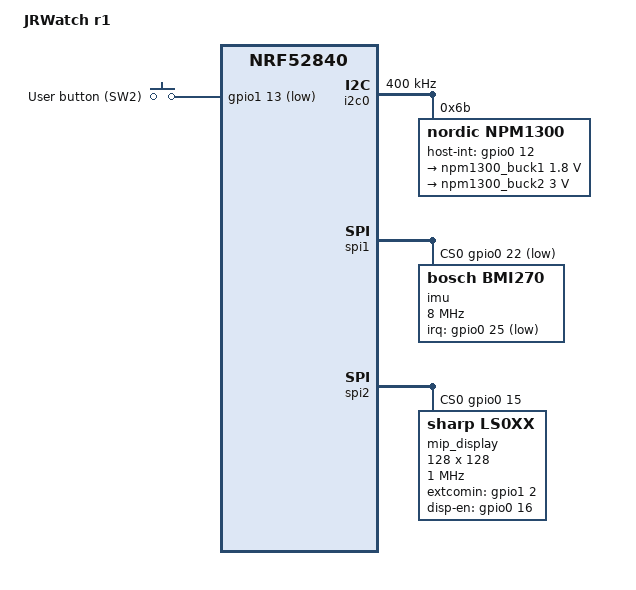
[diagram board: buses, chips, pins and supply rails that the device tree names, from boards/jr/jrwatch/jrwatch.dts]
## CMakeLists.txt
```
cmake_minimum_required(VERSION 3.20.0)

set(BOARD_ROOT ${CMAKE_CURRENT_SOURCE_DIR})
find_package(Zephyr REQUIRED HINTS $ENV{ZEPHYR_BASE})
project(jrwatch_fw)

target_sources(app PRIVATE
  src/main.c
  src/ble.c
  src/motion.c
  src/ui.c
  src/power.c
)
target_include_directories(app PRIVATE src)
```

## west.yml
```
manifest:
  remotes:
    - name: zephyrproject
      url-base: https://github.com/zephyrproject-rtos

  projects:
    - name: zephyr
      remote: zephyrproject
      revision: v4.1.0
      import:
        name-allowlist:
          - cmsis
          - hal_nordic
          - segger
          - mbedtls
          - tinycrypt
          - picolibc

  self:
    path: jrwatch/firmware
```

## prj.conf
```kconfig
# ---------------------------------------------------------------- Bluetooth
CONFIG_BT=y
CONFIG_BT_PERIPHERAL=y
CONFIG_BT_DEVICE_NAME="JRWatch"
CONFIG_BT_DEVICE_APPEARANCE=192
CONFIG_BT_BAS=y
CONFIG_BT_SMP=y
CONFIG_BT_SETTINGS=y
# connection interval: prefer long intervals for power (units of 1.25 ms)
CONFIG_BT_PERIPHERAL_PREF_MIN_INT=40
CONFIG_BT_PERIPHERAL_PREF_MAX_INT=80
CONFIG_BT_PERIPHERAL_PREF_LATENCY=4
CONFIG_BT_PERIPHERAL_PREF_TIMEOUT=400
CONFIG_BT_GAP_AUTO_UPDATE_CONN_PARAMS=y

# settings/bonding storage
CONFIG_FLASH=y
CONFIG_FLASH_MAP=y
CONFIG_NVS=y
CONFIG_SETTINGS=y
CONFIG_SETTINGS_NVS=y

# ------------------------------------------------------------------ devices
CONFIG_GPIO=y
CONFIG_I2C=y
CONFIG_SPI=y
CONFIG_SENSOR=y
CONFIG_REGULATOR=y
CONFIG_MFD=y
CONFIG_INPUT=y

# BMI270 (SPI) with motion trigger for wake-on-wrist
CONFIG_BMI270=y
CONFIG_BMI270_TRIGGER_OWN_THREAD=y

# Sharp memory-in-pixel display
CONFIG_DISPLAY=y
CONFIG_LS0XX=y
CONFIG_CHARACTER_FRAMEBUFFER=y

# ------------------------------------------------------------- power story
CONFIG_PM=y
CONFIG_PM_DEVICE=y
CONFIG_PM_DEVICE_RUNTIME=y
CONFIG_POWEROFF=y


# ---------------------------------------------------------------- logging
# no UART pins on this board: console/logs over SEGGER RTT (SWD attached)
CONFIG_LOG=y
CONFIG_USE_SEGGER_RTT=y
CONFIG_LOG_BACKEND_RTT=y
CONFIG_LOG_MODE_DEFERRED=y
CONFIG_LOG_DEFAULT_LEVEL=3

CONFIG_MAIN_STACK_SIZE=2048
CONFIG_SYSTEM_WORKQUEUE_STACK_SIZE=2048
CONFIG_HEAP_MEM_POOL_SIZE=4096
```

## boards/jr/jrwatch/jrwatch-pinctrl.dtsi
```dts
/* JRWatch pin control. Matches the schematic pin table exactly. */

&pinctrl {
	i2c0_default: i2c0_default {
		group1 {
			psels = <NRF_PSEL(TWIM_SDA, 0, 14)>,
				<NRF_PSEL(TWIM_SCL, 0, 13)>;
			bias-pull-up;
		};
	};
	i2c0_sleep: i2c0_sleep {
		group1 {
			psels = <NRF_PSEL(TWIM_SDA, 0, 14)>,
				<NRF_PSEL(TWIM_SCL, 0, 13)>;
			low-power-enable;
		};
	};

	spi1_default: spi1_default {
		group1 {
			psels = <NRF_PSEL(SPIM_SCK, 0, 19)>,
				<NRF_PSEL(SPIM_MOSI, 0, 21)>,
				<NRF_PSEL(SPIM_MISO, 0, 23)>;
		};
	};
	spi1_sleep: spi1_sleep {
		group1 {
			psels = <NRF_PSEL(SPIM_SCK, 0, 19)>,
				<NRF_PSEL(SPIM_MOSI, 0, 21)>,
				<NRF_PSEL(SPIM_MISO, 0, 23)>;
			low-power-enable;
		};
	};

	spi2_default: spi2_default {
		group1 {
			psels = <NRF_PSEL(SPIM_SCK, 0, 17)>,
				<NRF_PSEL(SPIM_MOSI, 0, 20)>;
		};
	};
	spi2_sleep: spi2_sleep {
		group1 {
			psels = <NRF_PSEL(SPIM_SCK, 0, 17)>,
				<NRF_PSEL(SPIM_MOSI, 0, 20)>;
			low-power-enable;
		};
	};
};
```

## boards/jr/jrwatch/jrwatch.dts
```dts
/*
 * JRWatch r1: Raytac MDBT50Q-1MV2 (nRF52840) wearable.
 * Pin map is the schematic of record (hardware/skidl/jrwatch.py):
 *   I2C0  SDA P0.14  SCL P0.13   -> nPM1300 PMIC (addr 0x6B)
 *   SPI1  SCK P0.19 MOSI P0.21 MISO P0.23 CS P0.22, INT1 P0.25 -> BMI270
 *   SPI2  SCK P0.17 MOSI P0.20 SCS P0.15 (active HIGH)          -> LS013B7DH03
 *         EXTCOMIN P1.02, DISP P0.16
 *   Button SW2 P1.13 (to GND, internal pull-up), SW1 -> PMIC SHPHLD only
 *   PMIC host interrupt: nPM1300 GPIO0 -> P0.12
 */

/dts-v1/;
#include <nordic/nrf52840_qiaa.dtsi>
#include <dt-bindings/regulator/npm1300.h>
#include <dt-bindings/regulator/nrf5x.h>
#include "jrwatch-pinctrl.dtsi"

/ {
	model = "JRWatch r1";
	compatible = "jr,jrwatch";

	chosen {
		zephyr,sram = &sram0;
		zephyr,flash = &flash0;
		zephyr,code-partition = &slot0_partition;
		zephyr,display = &mip_display;
	};

	buttons {
		compatible = "gpio-keys";
		button_user: button_0 {
			gpios = <&gpio1 13 (GPIO_PULL_UP | GPIO_ACTIVE_LOW)>;
			label = "User button (SW2)";
			zephyr,code = <INPUT_KEY_0>;
		};
	};

	aliases {
		sw0 = &button_user;
		watchdog0 = &wdt0;
	};
};

/* REG1 DC/DC: the buck inductor is inside the Raytac module (datasheet §2.6) */
&reg1 {
	regulator-initial-mode = <NRF5X_REG_MODE_DCDC>;
};

&gpio0 { status = "okay"; };
&gpio1 { status = "okay"; };
&gpiote { status = "okay"; };

/* Tag-Connect pad J4.3 routes to P0.18/nRESET (schematic); without this UICR
 * setting the pin is just a GPIO and the debug pod cannot hard-reset. */
&uicr {
	gpio-as-nreset;
};

&i2c0 {
	compatible = "nordic,nrf-twim";
	status = "okay";
	pinctrl-0 = <&i2c0_default>;
	pinctrl-1 = <&i2c0_sleep>;
	pinctrl-names = "default", "sleep";
	clock-frequency = <I2C_BITRATE_FAST>;

	npm1300: pmic@6b {
		compatible = "nordic,npm1300";
		reg = <0x6b>;
		host-int-gpios = <&gpio0 12 GPIO_ACTIVE_HIGH>;
		pmic-int-pin = <0>;

		npm1300_gpio: gpio-controller {
			compatible = "nordic,npm1300-gpio";
			gpio-controller;
			#gpio-cells = <2>;
			ngpios = <5>;
		};

		npm1300_regulators: regulators {
			compatible = "nordic,npm1300-regulator";

			/* BUCK1: populated per reference config, held OFF by
			 * firmware (D-012); 1.8 V experiment rail only. */
			npm1300_buck1: BUCK1 {
				regulator-min-microvolt = <1800000>;
				regulator-max-microvolt = <1800000>;
				regulator-boot-off;
			};

			/* BUCK2: 3.0 V always-on system rail (VSET2 strap =
			 * 150k -> 3.0 V, correct by hardware at power-on). */
			npm1300_buck2: BUCK2 {
				regulator-min-microvolt = <3000000>;
				regulator-max-microvolt = <3000000>;
				regulator-always-on;
			};

			/* LDO1 as load switch: display domain (VDD_DISP) */
			npm1300_lsw_disp: LDO1 {
				regulator-initial-mode = <NPM1300_LDSW_MODE_LDSW>;
				regulator-boot-off;
			};

			/* LDO2 as load switch: IMU VDD domain (VDD_IMU) */
			npm1300_lsw_imu: LDO2 {
				regulator-initial-mode = <NPM1300_LDSW_MODE_LDSW>;
				regulator-boot-off;
			};
		};

		npm1300_charger: charger {
			compatible = "nordic,npm1300-charger";
			/* 150 mAh pouch: 0.5C charge, 4.2 V termination */
			term-microvolt = <4200000>;
			term-warm-microvolt = <4000000>;
			current-microamp = <76000>;
			/* board NTC: Murata NCP15XH103F03RC 10k B=3380 (D-017) */
			thermistor-ohms = <10000>;
			thermistor-beta = <3380>;
			/* discharge limiter: 200 mA >> worst-case system peak */
			dischg-limit-microamp = <200000>;
			charging-enable;
			vbus-limit-microamp = <500000>;
		};
	};
};

&spi1 {
	compatible = "nordic,nrf-spim";
	status = "okay";
	pinctrl-0 = <&spi1_default>;
	pinctrl-1 = <&spi1_sleep>;
	pinctrl-names = "default", "sleep";
	cs-gpios = <&gpio0 22 GPIO_ACTIVE_LOW>;

	imu: bmi270@0 {
		compatible = "bosch,bmi270";
		reg = <0>;
		spi-max-frequency = <8000000>;
		/* the in-tree driver leaves INT1_IO_CTRL.LVL at 0 (active low)
		 * and arms GPIO_INT_EDGE_TO_ACTIVE, so the flag must be LOW for
		 * "active edge" to mean motion-start */
		irq-gpios = <&gpio0 25 GPIO_ACTIVE_LOW>;
		/* VDD_IMU is a boot-off load switch: the driver's chip-ID probe
		 * must not run at POST_KERNEL against an unpowered chip. main()
		 * powers the rail, then runs device_init() (jr_motion_init). */
		zephyr,deferred-init;
	};
};

&spi2 {
	compatible = "nordic,nrf-spim";
	status = "okay";
	pinctrl-0 = <&spi2_default>;
	pinctrl-1 = <&spi2_sleep>;
	pinctrl-names = "default", "sleep";
	/* Sharp SCS is ACTIVE HIGH */
	cs-gpios = <&gpio0 15 GPIO_ACTIVE_HIGH>;

	mip_display: ls013b7dh03@0 {
		compatible = "sharp,ls0xx";
		reg = <0>;
		spi-max-frequency = <1000000>;
		width = <128>;
		height = <128>;
		/* EXTMODE is strapped HIGH: COM inversion via EXTCOMIN pin */
		extcomin-gpios = <&gpio1 2 GPIO_ACTIVE_HIGH>;
		extcomin-frequency = <1>;
		disp-en-gpios = <&gpio0 16 GPIO_ACTIVE_HIGH>;
		/* VDD_DISP is a boot-off load switch: don't drive DISP/EXTCOMIN
		 * or clock SPI into an unpowered panel at POST_KERNEL. The
		 * driver is inited by jr_ui_display_power() after rail-up. */
		zephyr,deferred-init;
	};
};

&flash0 {
	partitions {
		compatible = "fixed-partitions";
		#address-cells = <1>;
		#size-cells = <1>;

		boot_partition: partition@0 {
			label = "mcuboot";
			reg = <0x0 0xc000>;
		};
		slot0_partition: partition@c000 {
			label = "image-0";
			reg = <0xc000 0x72000>;
		};
		slot1_partition: partition@7e000 {
			label = "image-1";
			reg = <0x7e000 0x72000>;
		};
		storage_partition: partition@f0000 {
			label = "storage";
			reg = <0xf0000 0x10000>;
		};
	};
};
```

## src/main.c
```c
/*
 * JRWatch main state machine.
 *
 * The whole application is event-driven: between events the SoC sits in
 * System ON idle (WFI via the Zephyr idle thread) and every peripheral is
 * either gated (display/IMU load switches) or in its lowest device state.
 * The measured/projected budget per state lives in docs/verification-report.md.
 */
#include <zephyr/kernel.h>
#include <zephyr/logging/log.h>
#include <zephyr/drivers/gpio.h>
#include <zephyr/input/input.h>

#include "jrwatch.h"

LOG_MODULE_REGISTER(main, CONFIG_LOG_DEFAULT_LEVEL);

struct jr_status jr_status;
K_EVENT_DEFINE(jr_events);

/* after this long with no motion/button/BLE activity, drop to IDLE */
#define ACTIVE_TIMEOUT   K_SECONDS(20)
/* battery/status refresh cadence while active */
#define ACTIVE_TICK      K_SECONDS(5)
/* very long press of the user button requests ship mode */
#define SHIP_HOLD_MS     5000

static int64_t last_button_down;
static bool button_pressed;

static void button_cb(struct input_event *evt, void *user_data)
{
	ARG_UNUSED(user_data);

	if (evt->code != INPUT_KEY_0) {
		return;
	}
	if (evt->value) {
		last_button_down = k_uptime_get();
		button_pressed = true;
	} else {
		/* only honor a release whose press edge we saw; an unpaired
		 * release would compare against a zero timestamp and request
		 * ship mode spuriously */
		if (button_pressed &&
		    k_uptime_get() - last_button_down >= SHIP_HOLD_MS) {
			LOG_INF("long press -> ship mode");
			/* runs on the main loop, not here: ship entry can
			 * block ~100 ms probing for refusal, too long for
			 * the input callback context */
			k_event_post(&jr_events, JR_EVT_SHIP);
		}
		button_pressed = false;
	}
	k_event_post(&jr_events, JR_EVT_BUTTON);
}
INPUT_CALLBACK_DEFINE(NULL, button_cb, NULL);

static void enter_active(void)
{
	jr_status.state = JR_STATE_ACTIVE;
	jr_power_imu_rail(true);
	jr_motion_active();
	jr_ui_display_power(true);
	jr_power_sample();
	jr_ui_render();
	LOG_INF("state: ACTIVE");
}

static void enter_idle(void)
{
	jr_status.state = JR_STATE_IDLE;
	/* display keeps its last frame at ~µW: MIP retains the image and the
	 * EXTCOMIN 1 Hz toggle is driven by the display driver from a timer.
	 * The IMU drops to its 25 Hz low-power any-motion mode (~6 µA). */
	jr_motion_arm_wake();
	jr_ui_render();          /* final face refresh before going quiet */
	LOG_INF("state: IDLE (armed sleep)");
}

int main(void)
{
	int64_t last_activity = k_uptime_get();

	LOG_INF("JRWatch r1 firmware boot");

	(void)jr_power_init();
	/* Both gated rails are boot-off and their peripherals' drivers are
	 * deferred-init (jrwatch.dts): bring VDD_IMU up before probing the
	 * BMI270; VDD_DISP comes up inside jr_ui_display_power(). */
	jr_power_imu_rail(true);
	k_msleep(2);            /* BMI270 POR after rail-up */
	(void)jr_ui_init();
	(void)jr_motion_init();
	(void)jr_ble_init();

	enter_active();

	while (1) {
		uint32_t ev = k_event_wait(&jr_events,
					   JR_EVT_MOTION | JR_EVT_BUTTON |
					   JR_EVT_TICK | JR_EVT_SHIP,
					   false, ACTIVE_TICK);
		k_event_clear(&jr_events, ev);

		if (ev & JR_EVT_SHIP) {
			/* does not return unless entry is refused (USB
			 * power); on refusal fall through and let the
			 * BUTTON bit wake the face back up */
			jr_power_ship_mode();
		}

		if (ev & (JR_EVT_MOTION | JR_EVT_BUTTON)) {
			last_activity = k_uptime_get();
			if (jr_status.state == JR_STATE_IDLE) {
				enter_active();
			}
		}

		if (jr_status.state == JR_STATE_ACTIVE) {
			/* steps accumulate from motion.c's 50 Hz work item */
			jr_power_sample();
			jr_ui_render();
			jr_ble_notify_steps(jr_status.steps);

			if (k_uptime_get() - last_activity >
			    k_ticks_to_ms_floor64(ACTIVE_TIMEOUT.ticks)) {
				enter_idle();
			}
		} else {
			/* IDLE: the timeout wake is just the RTC, so re-render
			 * to keep the face's minute current (no-op unless the
			 * frame content actually changed) */
			jr_ui_render();
		}
	}
	return 0;
}
```

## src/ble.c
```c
/*
 * BLE peripheral: standard Battery Service (fed by the nPM1300 measurements)
 * plus a small custom Motion service.
 *
 * Motion service (128-bit UUIDs, base 6a570000-...):
 *   6a570001  step count      uint32 LE  read + notify
 *   6a570002  activity state  uint8      read (0=idle, 1=active)
 *
 * Advertising uses slow intervals (1-2 s), connectable but cheap. The
 * watch is the peripheral and latency matters less than idle current.
 */
#include <zephyr/kernel.h>
#include <zephyr/logging/log.h>
#include <zephyr/bluetooth/bluetooth.h>
#include <zephyr/bluetooth/conn.h>
#include <zephyr/bluetooth/gatt.h>
#include <zephyr/bluetooth/services/bas.h>
#include <zephyr/settings/settings.h>
#include <zephyr/sys/byteorder.h>

#include "jrwatch.h"

LOG_MODULE_REGISTER(ble, CONFIG_LOG_DEFAULT_LEVEL);

#define JR_UUID_SVC  BT_UUID_DECLARE_128(BT_UUID_128_ENCODE( \
	0x6a570000, 0x8f9d, 0x4a7c, 0x9b31, 0x24d1c30f51aa))
#define JR_UUID_STEPS BT_UUID_DECLARE_128(BT_UUID_128_ENCODE( \
	0x6a570001, 0x8f9d, 0x4a7c, 0x9b31, 0x24d1c30f51aa))
#define JR_UUID_STATE BT_UUID_DECLARE_128(BT_UUID_128_ENCODE( \
	0x6a570002, 0x8f9d, 0x4a7c, 0x9b31, 0x24d1c30f51aa))

static bool steps_notify_enabled;

static ssize_t read_steps(struct bt_conn *conn, const struct bt_gatt_attr *attr,
			  void *buf, uint16_t len, uint16_t offset)
{
	uint32_t v = sys_cpu_to_le32(jr_status.steps);

	return bt_gatt_attr_read(conn, attr, buf, len, offset, &v, sizeof(v));
}

static ssize_t read_state(struct bt_conn *conn, const struct bt_gatt_attr *attr,
			  void *buf, uint16_t len, uint16_t offset)
{
	uint8_t v = (jr_status.state == JR_STATE_ACTIVE) ? 1 : 0;

	return bt_gatt_attr_read(conn, attr, buf, len, offset, &v, sizeof(v));
}

static void steps_ccc_changed(const struct bt_gatt_attr *attr, uint16_t value)
{
	steps_notify_enabled = (value == BT_GATT_CCC_NOTIFY);
}

BT_GATT_SERVICE_DEFINE(jr_svc,
	BT_GATT_PRIMARY_SERVICE(JR_UUID_SVC),
	BT_GATT_CHARACTERISTIC(JR_UUID_STEPS,
			       BT_GATT_CHRC_READ | BT_GATT_CHRC_NOTIFY,
			       BT_GATT_PERM_READ, read_steps, NULL, NULL),
	BT_GATT_CCC(steps_ccc_changed,
		    BT_GATT_PERM_READ | BT_GATT_PERM_WRITE),
	BT_GATT_CHARACTERISTIC(JR_UUID_STATE, BT_GATT_CHRC_READ,
			       BT_GATT_PERM_READ, read_state, NULL, NULL),
);

static const struct bt_data ad[] = {
	BT_DATA_BYTES(BT_DATA_FLAGS, BT_LE_AD_GENERAL | BT_LE_AD_NO_BREDR),
	BT_DATA(BT_DATA_NAME_COMPLETE, CONFIG_BT_DEVICE_NAME,
		sizeof(CONFIG_BT_DEVICE_NAME) - 1),
};

/* slow advertising: 1-2 s interval keeps advertise current in the low µA */
static const struct bt_le_adv_param adv_slow = BT_LE_ADV_PARAM_INIT(
	BT_LE_ADV_OPT_CONN, 0x0640 /* 1 s */, 0x0c80 /* 2 s */, NULL);

void jr_ble_notify_steps(uint32_t steps)
{
	static uint32_t last;

	if (!steps_notify_enabled || steps == last) {
		return;
	}
	last = steps;
	uint32_t v = sys_cpu_to_le32(steps);

	(void)bt_gatt_notify(NULL, &jr_svc.attrs[1], &v, sizeof(v));
}

static void connected(struct bt_conn *conn, uint8_t err)
{
	LOG_INF("BLE connected (err %u)", err);
	k_event_post(&jr_events, JR_EVT_TICK);
}

static void adv_work_handler(struct k_work *work)
{
	ARG_UNUSED(work);
	int err = bt_le_adv_start(&adv_slow, ad, ARRAY_SIZE(ad), NULL, 0);

	if (err && err != -EALREADY) {
		LOG_WRN("adv restart: %d", err);
	}
}
static K_WORK_DEFINE(adv_work, adv_work_handler);

static void disconnected(struct bt_conn *conn, uint8_t reason)
{
	LOG_INF("BLE disconnected (0x%02x)", reason);
	/* Do NOT restart advertising here: with BT_MAX_CONN=1 the dying conn
	 * object is still referenced during this callback, so a connectable
	 * adv start would return -ENOMEM every time (documented in conn.h).
	 * The recycled callback fires once the slot is actually free. */
}

static void recycled(void)
{
	k_work_submit(&adv_work);
}

BT_CONN_CB_DEFINE(conn_cbs) = {
	.connected = connected,
	.disconnected = disconnected,
	.recycled = recycled,
};

int jr_ble_init(void)
{
	int err = bt_enable(NULL);

	if (err) {
		LOG_ERR("bt_enable: %d", err);
		return err;
	}
	if (IS_ENABLED(CONFIG_SETTINGS)) {
		settings_load();
	}
	err = bt_le_adv_start(&adv_slow, ad, ARRAY_SIZE(ad), NULL, 0);
	if (err) {
		LOG_ERR("adv start: %d", err);
	}
	/* battery service gets its first value once power_sample runs */
	return err;
}
```

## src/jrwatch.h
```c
/* JRWatch firmware: shared state and module interfaces. */
#ifndef JRWATCH_H_
#define JRWATCH_H_

#include <zephyr/kernel.h>

/* Power tiers (documented in docs/verification-report.md):
 *  ACTIVE    display on, BLE connectable, IMU 50 Hz
 *  IDLE      "armed sleep": System ON idle, IMU any-motion wake armed,
 *            display holding a static face, BLE off or slow advertising
 *  (ship mode is entered via the PMIC and exits only by SW1/VBUS)
 */
enum jr_state {
	JR_STATE_ACTIVE,
	JR_STATE_IDLE,
};

struct jr_status {
	uint8_t battery_pct;
	int32_t vbat_mv;
	bool charging;
	uint32_t steps;
	enum jr_state state;
};

extern struct jr_status jr_status;

/* Raised by motion (IMU any-motion) and the user button; consumed by main. */
extern struct k_event jr_events;
#define JR_EVT_MOTION   BIT(0)
#define JR_EVT_BUTTON   BIT(1)
#define JR_EVT_TICK     BIT(2)
#define JR_EVT_SHIP     BIT(3)

int jr_ble_init(void);
void jr_ble_notify_steps(uint32_t steps);

int jr_motion_init(void);
int jr_motion_arm_wake(void);      /* low-power any-motion mode, stops step work */
int jr_motion_active(void);        /* 50 Hz step-sampling work item */

int jr_ui_init(void);
void jr_ui_render(void);           /* redraws only when content changed */
int jr_ui_display_power(bool on);  /* gates the VDD_DISP load switch */

int jr_power_init(void);
void jr_power_sample(void);        /* refresh vbat/soc/charging */
void jr_power_imu_rail(bool on);   /* gates the VDD_IMU load switch */
void jr_power_ship_mode(void);     /* PMIC ship mode: ~sub-µA, SW1 wakes */

#endif /* JRWATCH_H_ */
```

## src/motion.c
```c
/*
 * BMI270: motion wake + host-side step estimation.
 *
 * Power design: in IDLE the IMU runs its low-power accel mode with the
 * any-motion interrupt armed (INT1 -> P0.25) at ~6 µA and the SoC sleeps.
 * In ACTIVE a 20 ms work item samples at the accel's 50 Hz ODR and runs a
 * lightweight peak-detector for steps; the work is cancelled on the drop
 * to IDLE. The BMI270's hardware step counter is not exposed by the Zephyr
 * driver; moving counting on-chip is a documented follow-up that will cut
 * ACTIVE-state SoC wakeups further (see firmware/README.md).
 *
 * Init order: VDD_IMU is a boot-off load switch, so the chip is dark while
 * Zephyr's POST_KERNEL init runs. The devicetree node is zephyr,deferred-init
 * and jr_motion_init() (called by main() after the rail is up) runs the
 * driver's init by hand.
 */
#include <zephyr/kernel.h>
#include <zephyr/logging/log.h>
#include <zephyr/device.h>
#include <zephyr/drivers/sensor.h>

#include "jrwatch.h"

LOG_MODULE_REGISTER(motion, CONFIG_LOG_DEFAULT_LEVEL);

static const struct device *const imu = DEVICE_DT_GET_ONE(bosch_bmi270);

/* ACTIVE-state step sampling cadence, matches the 50 Hz accel ODR */
#define STEP_SAMPLE_MS   20

static void motion_trigger(const struct device *dev,
			   const struct sensor_trigger *trig)
{
	ARG_UNUSED(dev);
	ARG_UNUSED(trig);
	k_event_post(&jr_events, JR_EVT_MOTION);
}

static int set_accel(uint16_t hz, const char *why)
{
	struct sensor_value odr = { .val1 = hz, .val2 = 0 };
	int err = sensor_attr_set(imu, SENSOR_CHAN_ACCEL_XYZ,
				  SENSOR_ATTR_SAMPLING_FREQUENCY, &odr);

	if (err) {
		LOG_WRN("accel odr %u (%s): %d", hz, why, err);
	}
	return err;
}

int jr_motion_init(void)
{
	if (!device_is_ready(imu)) {
		/* deferred init (see dts): the rail is up now, probe the chip */
		int err = device_init(imu);

		if (err) {
			LOG_ERR("BMI270 init: %d", err);
			return err;
		}
	}

	/* +/-4g range */
	struct sensor_value range = { .val1 = 4, .val2 = 0 };
	(void)sensor_attr_set(imu, SENSOR_CHAN_ACCEL_XYZ,
			      SENSOR_ATTR_FULL_SCALE, &range);

	struct sensor_trigger trig = {
		.type = SENSOR_TRIG_MOTION,
		.chan = SENSOR_CHAN_ACCEL_XYZ,
	};
	int err = sensor_trigger_set(imu, &trig, motion_trigger);

	if (err) {
		/* driver built without trigger support: wake still works via
		 * the button; log loudly so the power story stays honest */
		LOG_WRN("any-motion trigger unavailable (%d)", err);
	}
	return 0;
}

static void step_work_handler(struct k_work *work);
static K_WORK_DELAYABLE_DEFINE(step_work, step_work_handler);

int jr_motion_arm_wake(void)
{
	/* low ODR + any-motion interrupt armed = IMU low-power mode */
	(void)k_work_cancel_delayable(&step_work);
	return set_accel(25, "idle/any-motion");
}

int jr_motion_active(void)
{
	int err = set_accel(50, "active");

	/* sample at the ODR; no-op if the work is already scheduled */
	(void)k_work_schedule(&step_work, K_MSEC(STEP_SAMPLE_MS));
	return err;
}

/* --- tiny step estimator: magnitude peak detection with hysteresis ------ */
#define STEP_THRESH_MG   1150   /* |a| must exceed this (milli-g) */
#define STEP_RESET_MG    1050   /* and drop below this before the next step */
#define STEP_MIN_MS      280    /* max ~3.5 steps/s */

static void sample_step(void)
{
	static bool above;
	static int64_t last_step_ms;
	struct sensor_value acc[3];

	if (sensor_sample_fetch_chan(imu, SENSOR_CHAN_ACCEL_XYZ)) {
		return;
	}
	if (sensor_channel_get(imu, SENSOR_CHAN_ACCEL_XYZ, acc)) {
		return;
	}

	/* magnitude^2 in (m/s^2)^2, compared against thresholds in mg */
	int64_t mx = sensor_value_to_milli(&acc[0]);
	int64_t my = sensor_value_to_milli(&acc[1]);
	int64_t mz = sensor_value_to_milli(&acc[2]);
	int64_t mag2 = mx * mx + my * my + mz * mz;      /* (mm/s^2)^2 */

	/* 1 g = 9806 mm/s^2 */
	int64_t th_hi = (int64_t)STEP_THRESH_MG * 9806 / 1000;
	int64_t th_lo = (int64_t)STEP_RESET_MG * 9806 / 1000;

	th_hi *= th_hi;
	th_lo *= th_lo;

	int64_t now = k_uptime_get();

	if (!above && mag2 > th_hi) {
		above = true;
		if (now - last_step_ms > STEP_MIN_MS) {
			jr_status.steps++;
			last_step_ms = now;
		}
	} else if (above && mag2 < th_lo) {
		above = false;
	}
}

static void step_work_handler(struct k_work *work)
{
	ARG_UNUSED(work);
	sample_step();
	(void)k_work_schedule(&step_work, K_MSEC(STEP_SAMPLE_MS));
}
```

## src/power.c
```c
/*
 * nPM1300 power management.
 *
 * - charger/fuel data via the npm1300_charger sensor channels
 * - battery % from an OCV table (LiPo, rest-ish voltage). Nordic's nRF
 *   Fuel Gauge library is the higher-accuracy NCS option; the OCV estimate
 *   keeps this app vanilla-Zephyr buildable (documented in README).
 * - VDD_IMU load-switch gating
 * - BUCK1 is held off at boot (D-012: populated 1.8 V experiment rail)
 * - ship mode: quiescent battery disconnect, wake via SW1 (SHPHLD) or USB
 */
#include <zephyr/kernel.h>
#include <zephyr/logging/log.h>
#include <zephyr/device.h>
#include <zephyr/drivers/sensor.h>
#include <zephyr/drivers/sensor/npm1300_charger.h>
#include <zephyr/drivers/mfd/npm1300.h>
#include <zephyr/drivers/regulator.h>
#include <zephyr/bluetooth/services/bas.h>

#include "jrwatch.h"

LOG_MODULE_REGISTER(power, CONFIG_LOG_DEFAULT_LEVEL);

static const struct device *const charger =
	DEVICE_DT_GET(DT_NODELABEL(npm1300_charger));
static const struct device *const pmic =
	DEVICE_DT_GET(DT_NODELABEL(npm1300));
static const struct device *const buck1 =
	DEVICE_DT_GET(DT_NODELABEL(npm1300_buck1));
static const struct device *const lsw_imu =
	DEVICE_DT_GET(DT_NODELABEL(npm1300_lsw_imu));
static const struct device *const regulators =
	DEVICE_DT_GET(DT_NODELABEL(npm1300_regulators));

/* LiPo OCV -> % (coarse 10-point table, rest voltage) */
static const struct { int16_t mv; uint8_t pct; } ocv[] = {
	{ 4180, 100 }, { 4060, 90 }, { 3980, 80 }, { 3890, 70 },
	{ 3820, 60 },  { 3770, 50 }, { 3740, 40 }, { 3700, 30 },
	{ 3650, 20 },  { 3550, 10 }, { 3300, 0 },
};

static uint8_t soc_from_mv(int32_t mv)
{
	if (mv >= ocv[0].mv) {
		return 100;
	}
	for (size_t i = 1; i < ARRAY_SIZE(ocv); i++) {
		if (mv >= ocv[i].mv) {
			int span_mv = ocv[i - 1].mv - ocv[i].mv;
			int span_pc = ocv[i - 1].pct - ocv[i].pct;

			return ocv[i].pct +
			       (mv - ocv[i].mv) * span_pc / span_mv;
		}
	}
	return 0;
}

int jr_power_init(void)
{
	if (!device_is_ready(charger) || !device_is_ready(pmic)) {
		LOG_ERR("PMIC not ready");
		return -ENODEV;
	}
	/* D-012: BUCK1 populated per the reference circuit but held OFF for
	 * the production power numbers (devicetree already boots it off;
	 * this is the belt to that suspender). */
	if (device_is_ready(buck1) && regulator_is_enabled(buck1)) {
		(void)regulator_disable(buck1);
	}
	jr_power_sample();
	return 0;
}

void jr_power_imu_rail(bool on)
{
	if (!device_is_ready(lsw_imu)) {
		return;
	}
	int err = on ? regulator_enable(lsw_imu) : regulator_disable(lsw_imu);

	if (err && err != -EALREADY) {
		LOG_WRN("VDD_IMU %d: %d", on, err);
	}
}

void jr_power_sample(void)
{
	struct sensor_value v;

	if (sensor_sample_fetch(charger)) {
		return;
	}
	if (sensor_channel_get(charger, SENSOR_CHAN_GAUGE_VOLTAGE, &v) == 0) {
		jr_status.vbat_mv = sensor_value_to_milli(&v);
		jr_status.battery_pct = soc_from_mv(jr_status.vbat_mv);
	}
	if (sensor_channel_get(charger,
			       (enum sensor_channel)SENSOR_CHAN_NPM1300_CHARGER_STATUS,
			       &v) == 0) {
		/* any charging phase counts as charging: TRICKLE (bit 2),
		 * CC (bit 3), CV (bit 4). COMPLETED (bit 1) is not charging */
		jr_status.charging = (v.val1 & 0x1C) != 0;
	}
	(void)bt_bas_set_battery_level(jr_status.battery_pct);
}

void jr_power_ship_mode(void)
{
	struct sensor_value v;
	int err;

	/* PS: TASKENTERSHIPMODE must not be written while VBUS is present
	 * (the request could latch and fire on unplug). Live register
	 * check; refuse locally without issuing the task. */
	err = sensor_attr_get(charger,
			      (enum sensor_channel)SENSOR_CHAN_NPM1300_CHARGER_VBUS_STATUS,
			      (enum sensor_attribute)SENSOR_ATTR_NPM1300_CHARGER_VBUS_PRESENT,
			      &v);
	if (err != 0 || v.val1 != 0) {
		LOG_WRN("ship mode refused: on USB power (err %d)", err);
		return;
	}

	LOG_INF("entering ship mode");
	/* Blank the panel so ship doesn't freeze a stale face on it. The
	 * IMU rail stays up: on success the PMIC disconnects VBAT and it
	 * dies with everything else; on failure the BMI270 keeps its
	 * loaded config (a power cycle would lose it with no re-init
	 * path). */
	(void)jr_ui_display_power(false);
	k_msleep(10);
	/* TASKENTERSHIPMODE via the regulator parent gives true ship mode
	 * (IQSHIP), not hibernate's wake-timer variant. Exit: SW1 (SHPHLD
	 * low >= 96 ms) or VBUS. With VBUS absent, entry is immediate, so
	 * on success this does not return. */
	err = regulator_parent_ship_mode(regulators);
	k_msleep(100);
	/* still running: entry failed (bus error?), so recover the face */
	LOG_WRN("ship mode failed (err %d)", err);
	(void)jr_ui_display_power(true);
}
```

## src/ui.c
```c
/*
 * Watch face on the Sharp memory-in-pixel LCD.
 *
 * Power rules: the panel holds a static image at ~µW, so we redraw ONLY
 * when the visible content changes (minute, battery %, steps, charge
 * state). The display rail (VDD_DISP) is a PMIC load switch and can be cut
 * entirely; the panel node is zephyr,deferred-init and the driver is probed
 * on first power-up (jr_ui_display_power). EXTCOMIN's 1 Hz toggle comes
 * from the driver's timer (EXTMODE is strapped high in hardware).
 */
#include <zephyr/kernel.h>
#include <zephyr/logging/log.h>
#include <zephyr/device.h>
#include <zephyr/display/cfb.h>
#include <zephyr/drivers/display.h>
#include <zephyr/drivers/regulator.h>

LOG_MODULE_REGISTER(ui, CONFIG_LOG_DEFAULT_LEVEL);

#include "jrwatch.h"

static const struct device *const disp = DEVICE_DT_GET(DT_CHOSEN(zephyr_display));
static const struct device *const lsw_disp =
	DEVICE_DT_GET(DT_NODELABEL(npm1300_lsw_disp));

static bool disp_powered;
static bool cfb_ready;
static char last_frame[48];

int jr_ui_display_power(bool on)
{
	int err;

	if (on == disp_powered) {
		return 0;
	}
	if (!on) {
		/* drive interface lines low before cutting the rail so the
		 * unpowered panel is never back-fed through its inputs */
		(void)display_blanking_on(disp);
		err = regulator_disable(lsw_disp);
		if (err == 0) {
			disp_powered = false;
		} else {
			LOG_ERR("display power off: %d", err);
		}
		return err;
	}

	err = regulator_enable(lsw_disp);
	if (err == -EALREADY) {
		err = 0;
	}
	if (err != 0) {
		LOG_ERR("display rail enable: %d", err);
		return err;
	}
	k_msleep(2);                    /* panel VDD settle */
	/* deferred init (see dts): the ls0xx driver must not probe at
	 * boot while VDD_DISP is off; first power-up runs it by hand */
	if (!device_is_ready(disp)) {
		err = device_init(disp);
	}
	/* CFB k_malloc's its frame buffer on every init and never frees
	 * it - against the 4 KB heap a second init would fail. Init once
	 * and reuse across rail cycles. */
	if (err == 0 && !cfb_ready) {
		err = cfb_framebuffer_init(disp);
		cfb_ready = (err == 0);
	}
	if (err != 0) {
		/* failed partway: don't leave the rail latched on */
		(void)regulator_disable(lsw_disp);
		LOG_ERR("display power on: %d", err);
		return err;
	}
	/* repaint before unblanking: the rail cycle leaves random data in
	 * panel RAM, and ls0xx only clears it at its one-time init */
	disp_powered = true;
	last_frame[0] = '\0';
	jr_ui_render();
	(void)display_blanking_off(disp);
	return 0;
}

int jr_ui_init(void)
{
	/* the panel itself is zephyr,deferred-init; it is probed on the
	 * first jr_ui_display_power(true), after its rail is up */
	if (!device_is_ready(lsw_disp)) {
		LOG_ERR("display load switch not ready");
		return -ENODEV;
	}
	return 0;
}

void jr_ui_render(void)
{
	char frame[48];
	int64_t up_s = k_uptime_get() / 1000;
	unsigned int hh = (up_s / 3600) % 24;
	unsigned int mm = (up_s / 60) % 60;

	if (!disp_powered) {
		return;
	}

	/* uptime-clock until BLE CTS sync lands (documented follow-up) */
	snprintk(frame, sizeof(frame), "%02u:%02u|%u%%%s|%u", hh, mm,
		 jr_status.battery_pct, jr_status.charging ? "+" : "",
		 jr_status.steps);
	if (strcmp(frame, last_frame) == 0) {
		return;                        /* nothing changed: stay µW */
	}
	strcpy(last_frame, frame);

	char line[24];

	(void)cfb_framebuffer_clear(disp, false);
	snprintk(line, sizeof(line), "%02u:%02u", hh, mm);
	(void)cfb_print(disp, line, 24, 28);
	snprintk(line, sizeof(line), "bat %3u%%%s", jr_status.battery_pct,
		 jr_status.charging ? " chg" : "");
	(void)cfb_print(disp, line, 8, 64);
	snprintk(line, sizeof(line), "%u steps", jr_status.steps);
	(void)cfb_print(disp, line, 8, 88);
	(void)cfb_framebuffer_finalize(disp);
}
```
